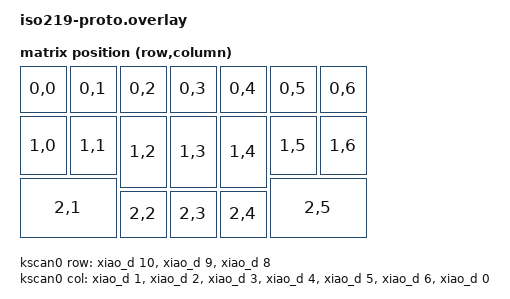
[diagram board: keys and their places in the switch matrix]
#include <physical_layouts.dtsi>
#include <dt-bindings/zmk/matrix_transform.h>

/ {
    chosen {
        zmk,kscan = &kscan0;
        zmk,matrix_transform = &default_transform;
    };

    default_transform: keymap_transform_0 {
        compatible = "zmk,matrix-transform";
        columns = <7>;
        rows = <3>;

        map = <
            RC(0,0) RC(0,1) RC(0,2) RC(0,3) RC(0,4) RC(0,5) RC(0,6)
            RC(1,0) RC(1,1) RC(1,2) RC(1,3) RC(1,4) RC(1,5) RC(1,6)
                    RC(2,1) RC(2,2) RC(2,3) RC(2,4) RC(2,5)
        >;
    };
    physical_layout0: physical_layout_0 {
        compatible = "zmk,physical-layout";
        display-name = "Default";

        transform = <&default_transform>;

        keys  //                     w   h    x    y     rot    rx    ry
            = <&key_physical_attrs 100 100    0    0       0     0     0>
            , <&key_physical_attrs 100 100  100    0       0     0     0>
            , <&key_physical_attrs 100 100  200    0       0     0     0>
            , <&key_physical_attrs 100 100  300    0       0     0     0>
            , <&key_physical_attrs 100 100  400    0       0     0     0>
            , <&key_physical_attrs 100 100  500    0       0     0     0>
            , <&key_physical_attrs 100 100  600    0       0     0     0>
            , <&key_physical_attrs 100 125    0  100       0     0     0>
            , <&key_physical_attrs 100 125  100  100       0     0     0>
            , <&key_physical_attrs 100 150  200  100       0     0     0>
            , <&key_physical_attrs 100 150  300  100       0     0     0>
            , <&key_physical_attrs 100 150  400  100       0     0     0>
            , <&key_physical_attrs 100 125  500  100       0     0     0>
            , <&key_physical_attrs 100 125  600  100       0     0     0>
            , <&key_physical_attrs 200 125    0  225       0     0     0>
            , <&key_physical_attrs 100 100  200  250       0     0     0>
            , <&key_physical_attrs 100 100  300  250       0     0     0>
            , <&key_physical_attrs 100 100  400  250       0     0     0>
            , <&key_physical_attrs 200 125  500  225       0     0     0>
            ;
    };

  kscan0: kscan_matrix {
        compatible = "zmk,kscan-gpio-matrix";
        diode-direction = "col2row";

        col-gpios
            = <&xiao_d 1 (GPIO_ACTIVE_HIGH | GPIO_PULL_DOWN)>
            , <&xiao_d 2 (GPIO_ACTIVE_HIGH | GPIO_PULL_DOWN)>
            , <&xiao_d 3 (GPIO_ACTIVE_HIGH | GPIO_PULL_DOWN)>
            , <&xiao_d 4 (GPIO_ACTIVE_HIGH | GPIO_PULL_DOWN)>
            , <&xiao_d 5 (GPIO_ACTIVE_HIGH | GPIO_PULL_DOWN)>
            , <&xiao_d 6 (GPIO_ACTIVE_HIGH | GPIO_PULL_DOWN)>
            , <&xiao_d 0 (GPIO_ACTIVE_HIGH | GPIO_PULL_DOWN)>
            ;

        row-gpios
            = <&xiao_d 10 (GPIO_ACTIVE_HIGH | GPIO_PULL_DOWN)>
            , <&xiao_d 9  (GPIO_ACTIVE_HIGH | GPIO_PULL_DOWN)>
            , <&xiao_d 8  (GPIO_ACTIVE_HIGH | GPIO_PULL_DOWN)>
            ;
    };
};
